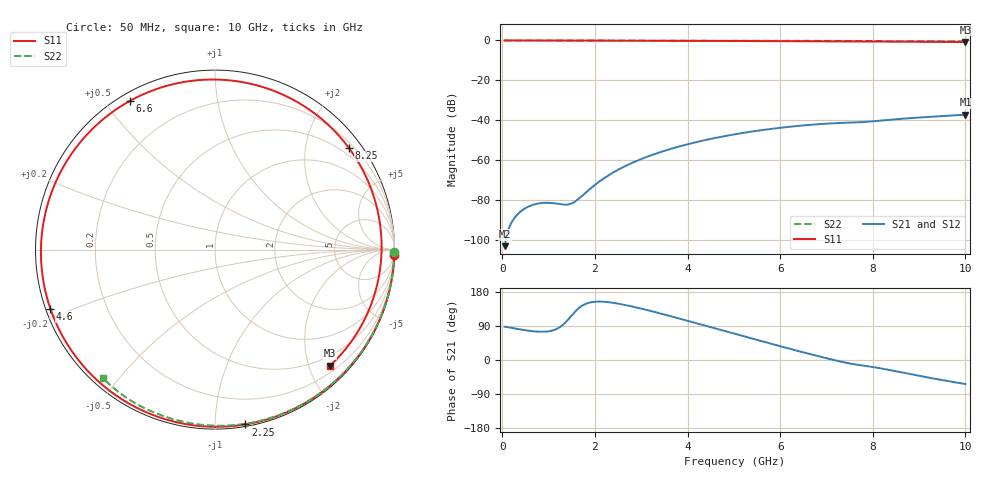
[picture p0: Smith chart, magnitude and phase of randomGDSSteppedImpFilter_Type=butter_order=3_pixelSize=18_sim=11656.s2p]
! freq	dB(S11)	phase(S11)	dB(S12)	phase(S12)
!  dB(S21)	phase(S21)	dB(S22)	phase(S22)
!S-par simulation data
#  GHz  S  DB  R 50
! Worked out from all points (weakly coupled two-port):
!   200 points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, 50 MHz to 10 GHz, reference 50 ohm
!   highest |S21| = -37.15 dB at 10 GHz (marker M1); lowest = -103.0 dB at 50 MHz (marker M2)
!   lowest |S11| = -0.8 dB at 10 GHz (marker M3), VSWR 21.30, Z = 15.6 - j118 ohm
!   |S11| at or under -10 dB: nowhere
!   |S22| runs from -0.5 to 0.0 dB; largest |S21 - S12| = 0
!   S11 on the Smith chart (normalised r, x): 50 MHz: 1, -61; 2.25 GHz: 0.01, -1.19; 4.6 GHz: 0.01, -0.17; 6.6 GHz: 0.03, +0.58; 8.25 GHz: 0.32, +2.95; 10 GHz: 0.31, -2.36
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0.05  -0.00 -1.9  -102.99 87.7  -102.99 87.7  -0.00 -0.8
0.75  -0.03 -27.4  -81.76 74.9  -81.76 74.9  -0.01 -11.3
1.6  -0.07 -57.7  -80.17 131.1  -80.17 131.1  -0.03 -24.0
1.75  -0.08 -62.9  -77.27 145.1  -77.27 145.1  -0.03 -26.2
2.25  -0.10 -80.2  -68.18 153.1  -68.18 153.1  -0.04 -33.5
2.8  -0.12 -98.9  -61.34 141.3  -61.34 141.3  -0.05 -41.4
3.4  -0.15 -119.1  -56.01 123.2  -56.01 123.2  -0.07 -49.9
4.05  -0.19 -141.1  -51.69 101.9  -51.69 101.9  -0.08 -58.9
4.6  -0.22 -160.2  -48.81 83.3  -48.81 83.3  -0.10 -66.3
5.05  -0.26 -176.5  -46.86 68.1  -46.86 68.1  -0.11 -72.2
5.85  -0.33 152.4  -44.15 41.3  -44.15 41.3  -0.14 -82.5
6.6  -0.41 119.7  -42.34 17.0  -42.34 17.0  -0.17 -91.9
6.7  -0.42 115.1  -42.15 13.9  -42.15 13.9  -0.18 -93.1
7.1  -0.46 95.9  -41.53 1.7  -41.53 1.7  -0.20 -98.0
7.45  -0.49 78.4  -41.19 -7.9  -41.19 -7.9  -0.23 -102.2
7.85  -0.53 57.8  -40.78 -15.8  -40.78 -15.8  -0.26 -107.0
8.25  -0.57 37.1  -39.92 -23.8  -39.92 -23.8  -0.28 -111.7
8.35  -0.58 31.9  -39.71 -26.2  -39.71 -26.2  -0.29 -112.8
8.7  -0.61 14.2  -39.07 -34.7  -39.07 -34.7  -0.31 -116.8
9.1  -0.66 -5.4  -38.45 -44.2  -38.45 -44.2  -0.35 -121.3
9.5  -0.72 -23.9  -37.88 -53.0  -37.88 -53.0  -0.39 -125.7
10  -0.82 -45.3  -37.15 -63.4  -37.15 -63.4  -0.45 -131.2
